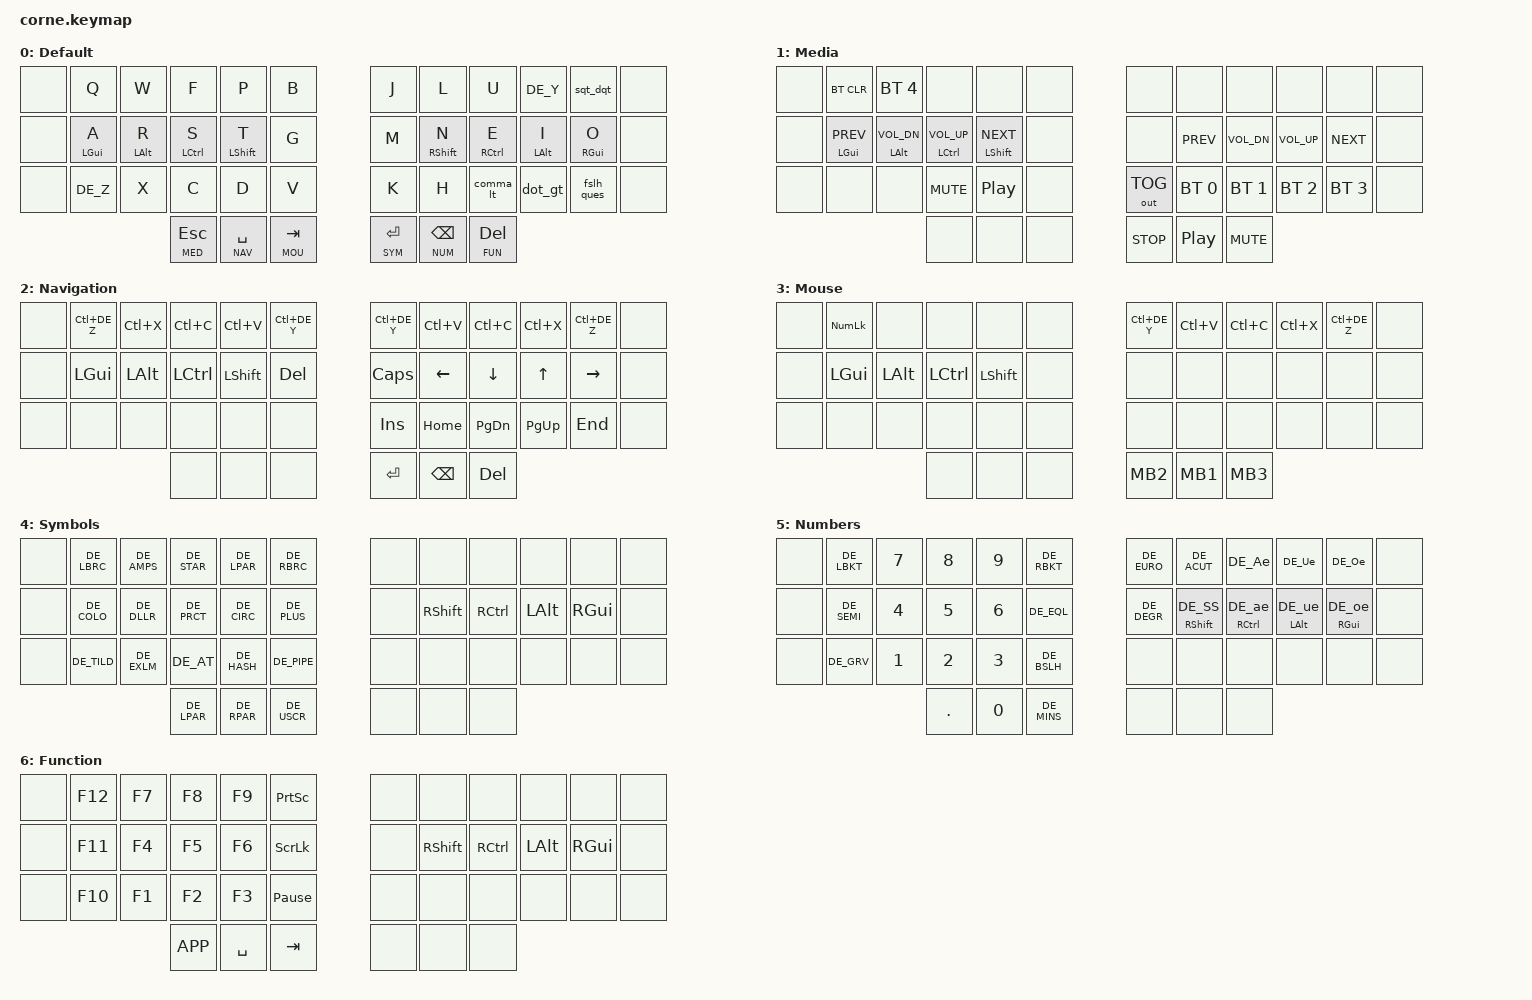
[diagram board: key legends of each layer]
#include <behaviors.dtsi>
#include <dt-bindings/zmk/keys.h>
#include <dt-bindings/zmk/bt.h>
#include <dt-bindings/zmk/outputs.h>
#include <dt-bindings/zmk/mouse.h>

#include "./helper.h"
#include "./keypos_42keys.h"
#include "./keymap_german.h"

#define DEF 0  // layer shortcuts, must match order in which they are defined below
#define MED 1
#define NAV 2
#define MOU 3
#define SYM 4
#define NUM 5
#define FUN 6

#define ___ &none

// homerow mods
ZMK_BEHAVIOR(hrm, hold_tap,
    flavor = "balanced";
    tapping-term-ms = <200>;
    quick-tap-ms = <180>;
    bindings = <&kp>, <&kp>;
)

&lt {
    tapping-term-ms = <200>;
    quick-tap-ms = <180>;
};

//ZMK_BEHAVIOR(hfl, hold_tap,
//    flavor = "tap-preferred";
//    tapping-term-ms = <280>;
//    quick-tap-ms = <180>;
//    bindings = <&mo>, <&kp>;
//)
//
//// tap: backspace | shift + tap: delete | hold: NUM layer
//ZMK_BEHAVIOR(bs_del_num, mod_morph,
//    bindings = <&hfl NUM BSPC>, <&kp DEL>;
//    mods = <(MOD_LSFT|MOD_RSFT)>;
//)
//
//// tap: caps word | double tap: sticky shift
//ZMK_BEHAVIOR(cw_ss, tap_dance,
//    tapping-term-ms = <200>;
//    bindings = <&caps_word>, <&sk LSHFT>;
//)

// tap: , | shift + tap: <
ZMK_BEHAVIOR(comma_lt, mod_morph,
    bindings = <&kp COMMA>, <&kp DE_LT>;
    mods = <(MOD_LSFT|MOD_RSFT)>;
)

// tap: . | shift + tap: >
ZMK_BEHAVIOR(dot_gt, mod_morph,
    bindings = <&kp DOT>, <&kp DE_GT>;
    mods = <(MOD_LSFT|MOD_RSFT)>;
)

// tap: / | shift + tap: ?
ZMK_BEHAVIOR(fslh_ques, mod_morph,
    bindings = <&kp DE_FSLH>, <&kp DE_QUES>;
    mods = <(MOD_LSFT|MOD_RSFT)>;
)

// tap: ' | shift + tap: "
ZMK_BEHAVIOR(sqt_dqt, mod_morph,
    bindings = <&kp DE_SQT>, <&kp DE_DQT>;
    mods = <(MOD_LSFT|MOD_RSFT)>;
)

#undef COMBO_TERM
#define COMBO_TERM 40  // timeout of 40ms (default is 30ms if omitted)(
//ZMK_COMBO(combo_cut,    &kp LC(X),  LB3 LB4, ALL)      // Ctrl + X, active on all layers
//ZMK_COMBO(combo_copy,   &kp LC(C),  LB2 LB3, ALL)      // Ctrl + C, active on all layers
//ZMK_COMBO(combo_paste,  &kp LC(V),  LB1 LB2, ALL)      // Ctrl + V, active on all layers
//ZMK_COMBO(combo_esc,    &kp ESC,    LT1 LT2 LT3, ALL)  // ESC, active on all layers

ZMK_LAYER(Default,
     // ╭─────┬─────────────┬─────────────┬─────────────┬─────────────┬─────────────╮   ╭─────────────┬─────────────┬─────────────┬─────────────┬─────────────┬─────╮
          ___   &kp Q         &kp W         &kp F         &kp P         &kp B             &kp J         &kp L         &kp U         &kp DE_Y      &sqt_dqt      ___
     // ├─────┼─────────────┼─────────────┼─────────────┼─────────────┼─────────────┤   ├─────────────┼─────────────┼─────────────┼─────────────┼─────────────┼─────┤
          ___   &hrm LGUI A   &hrm LALT R   &hrm LCTRL S  &hrm LSHFT T  &kp G             &kp M         &hrm RSHFT N  &hrm RCTRL E  &hrm LALT I   &hrm RGUI O   ___
     // ├─────┼─────────────┼─────────────┼─────────────┼─────────────┼─────────────┤   ├─────────────┼─────────────┼─────────────┼─────────────┼─────────────┼─────┤
          ___   &kp DE_Z      &kp X         &kp C         &kp D         &kp V             &kp K         &kp H         &comma_lt     &dot_gt       &fslh_ques    ___
     // ╰─────┴─────────────┴─────────────┼─────────────┼─────────────┼─────────────┤   ├─────────────┼─────────────┼─────────────┼─────────────┴─────────────┴─────╯
                                            &lt MED ESC   &lt NAV SPACE &lt MOU TAB       &lt SYM RET   &lt NUM BSPC  &lt FUN DEL
     //                                   ╰─────────────┴─────────────┴─────────────╯   ╰─────────────┴─────────────┴─────────────╯
)

ZMK_LAYER(Media,
     // ╭─────┬─────────────┬─────────────┬─────────────┬─────────────┬─────────────╮   ╭─────────────┬─────────────┬─────────────┬─────────────┬─────────────┬─────╮
          ___   &bt BT_CLR    &bt BT_SEL 4  ___           ___           ___               ___           ___           ___           ___           ___           ___
     // ├─────┼─────────────┼─────────────┼─────────────┼─────────────┼─────────────┤   ├─────────────┼─────────────┼─────────────┼─────────────┼─────────────┼─────┤
    ___ &hrm LGUI C_PREV &hrm LALT C_VOL_DN &hrm LCTRL C_VOL_UP &hrm LSHFT C_NEXT ___     ___           &kp C_PREV    &kp C_VOL_DN  &kp C_VOL_UP  &kp C_NEXT    ___
     // ├─────┼─────────────┼─────────────┼─────────────┼─────────────┼─────────────┤   ├─────────────┼─────────────┼─────────────┼─────────────┼─────────────┼─────┤
          ___   ___           ___            &kp C_MUTE   &kp C_PLAY_PAUSE ___            &out OUT_TOG  &bt BT_SEL 0  &bt BT_SEL 1  &bt BT_SEL 2  &bt BT_SEL 3  ___
     // ╰─────┴─────────────┴─────────────┼─────────────┼─────────────┼─────────────┤   ├─────────────┼─────────────┼─────────────┼─────────────┴─────────────┴─────╯
                                            ___           ___           ___               &kp C_STOP    &kp C_PLAY_PAUSE &kp C_MUTE
     //                                   ╰─────────────┴─────────────┴─────────────╯   ╰─────────────┴─────────────┴─────────────╯
)

ZMK_LAYER(Navigation,
     // ╭─────┬─────────────┬─────────────┬─────────────┬─────────────┬─────────────╮   ╭─────────────┬─────────────┬─────────────┬─────────────┬─────────────┬─────╮
          ___   &kp LC(DE_Z)  &kp LC(X)     &kp LC(C)     &kp LC(V)     &kp LC(DE_Y)      &kp LC(DE_Y)  &kp LC(V)     &kp LC(C)     &kp LC(X)     &kp LC(DE_Z)  ___
     // ├─────┼─────────────┼─────────────┼─────────────┼─────────────┼─────────────┤   ├─────────────┼─────────────┼─────────────┼─────────────┼─────────────┼─────┤
          ___   &kp LGUI      &kp LALT      &kp LCTRL     &kp LSHFT     &kp DEL           &kp CAPSLOCK  &kp LEFT      &kp DOWN      &kp UP        &kp RIGHT     ___
     // ├─────┼─────────────┼─────────────┼─────────────┼─────────────┼─────────────┤   ├─────────────┼─────────────┼─────────────┼─────────────┼─────────────┼─────┤
          ___   ___           ___           ___           ___           ___               &kp INS       &kp HOME      &kp PG_DN     &kp PG_UP     &kp END       ___
     // ╰─────┴─────────────┴─────────────┼─────────────┼─────────────┼─────────────┤   ├─────────────┼─────────────┼─────────────┼─────────────┴─────────────┴─────╯
                                            ___           ___           ___               &kp RET       &kp BSPC      &kp DEL
     //                                   ╰─────────────┴─────────────┴─────────────╯   ╰─────────────┴─────────────┴─────────────╯
)

ZMK_LAYER(Mouse,
     // ╭─────┬─────────────┬─────────────┬─────────────┬─────────────┬─────────────╮   ╭─────────────┬─────────────┬─────────────┬─────────────┬─────────────┬─────╮
          ___   &kp KP_NUMLOCK ___          ___           ___           ___               &kp LC(DE_Y)  &kp LC(V)     &kp LC(C)     &kp LC(X)     &kp LC(DE_Z)  ___
     // ├─────┼─────────────┼─────────────┼─────────────┼─────────────┼─────────────┤   ├─────────────┼─────────────┼─────────────┼─────────────┼─────────────┼─────┤
          ___   &kp LGUI      &kp LALT      &kp LCTRL     &kp LSHFT     ___               ___           ___           ___           ___           ___           ___
     // ├─────┼─────────────┼─────────────┼─────────────┼─────────────┼─────────────┤   ├─────────────┼─────────────┼─────────────┼─────────────┼─────────────┼─────┤
          ___   ___           ___           ___           ___           ___               ___           ___           ___           ___           ___           ___
     // ╰─────┴─────────────┴─────────────┼─────────────┼─────────────┼─────────────┤   ├─────────────┼─────────────┼─────────────┼─────────────┴─────────────┴─────╯
                                            ___           ___           ___               &kp MB2       &kp MB1       &kp MB3
     //                                   ╰─────────────┴─────────────┴─────────────╯   ╰─────────────┴─────────────┴─────────────╯
)

ZMK_LAYER(Symbols,
     // ╭─────┬─────────────┬─────────────┬─────────────┬─────────────┬─────────────╮   ╭─────────────┬─────────────┬─────────────┬─────────────┬─────────────┬─────╮
          ___   &kp DE_LBRC   &kp DE_AMPS   &kp DE_STAR   &kp DE_LPAR   &kp DE_RBRC       ___           ___           ___           ___           ___           ___
     // ├─────┼─────────────┼─────────────┼─────────────┼─────────────┼─────────────┤   ├─────────────┼─────────────┼─────────────┼─────────────┼─────────────┼─────┤
          ___   &kp DE_COLO   &kp DE_DLLR   &kp DE_PRCT   &kp DE_CIRC   &kp DE_PLUS       ___           &kp RSHFT     &kp RCTRL     &kp LALT      &kp RGUI      ___
     // ├─────┼─────────────┼─────────────┼─────────────┼─────────────┼─────────────┤   ├─────────────┼─────────────┼─────────────┼─────────────┼─────────────┼─────┤
          ___   &kp DE_TILD   &kp DE_EXLM   &kp DE_AT     &kp DE_HASH   &kp DE_PIPE       ___           ___           ___           ___           ___           ___
     // ╰─────┴─────────────┴─────────────┼─────────────┼─────────────┼─────────────┤   ├─────────────┼─────────────┼─────────────┼─────────────┴─────────────┴─────╯
                                            &kp DE_LPAR   &kp DE_RPAR   &kp DE_USCR       ___           ___           ___
     //                                   ╰─────────────┴─────────────┴─────────────╯   ╰─────────────┴─────────────┴─────────────╯
)

ZMK_LAYER(Numbers,
     // ╭─────┬─────────────┬─────────────┬─────────────┬─────────────┬─────────────╮   ╭─────────────┬─────────────┬─────────────┬─────────────┬─────────────┬─────╮
          ___   &kp DE_LBKT   &kp N7        &kp N8        &kp N9        &kp DE_RBKT       &kp DE_EURO   &kp DE_ACUT   &kp DE_Ae     &kp DE_Ue     &kp DE_Oe     ___
     // ├─────┼─────────────┼─────────────┼─────────────┼─────────────┼─────────────┤   ├─────────────┼─────────────┼─────────────┼─────────────┼─────────────┼─────┤
          ___   &kp DE_SEMI   &kp N4        &kp N5        &kp N6        &kp DE_EQL  &kp DE_DEGR &hrm RSHFT DE_SS &hrm RCTRL DE_ae &hrm LALT DE_ue &hrm RGUI DE_oe ___
     // ├─────┼─────────────┼─────────────┼─────────────┼─────────────┼─────────────┤   ├─────────────┼─────────────┼─────────────┼─────────────┼─────────────┼─────┤
          ___   &kp DE_GRV    &kp N1        &kp N2        &kp N3        &kp DE_BSLH       ___           ___           ___           ___           ___           ___
     // ╰─────┴─────────────┴─────────────┼─────────────┼─────────────┼─────────────┤   ├─────────────┼─────────────┼─────────────┼─────────────┴─────────────┴─────╯
                                            &kp DOT       &kp N0        &kp DE_MINS       ___           ___           ___
     //                                   ╰─────────────┴─────────────┴─────────────╯   ╰─────────────┴─────────────┴─────────────╯
)

ZMK_LAYER(Function,
     // ╭─────┬─────────────┬─────────────┬─────────────┬─────────────┬─────────────╮   ╭─────────────┬─────────────┬─────────────┬─────────────┬─────────────┬─────╮
          ___   &kp F12       &kp F7        &kp F8        &kp F9        &kp PRINTSCREEN   ___           ___           ___           ___           ___           ___
     // ├─────┼─────────────┼─────────────┼─────────────┼─────────────┼─────────────┤   ├─────────────┼─────────────┼─────────────┼─────────────┼─────────────┼─────┤
          ___   &kp F11       &kp F4        &kp F5        &kp F6        &kp SCROLLLOCK    ___           &kp RSHFT     &kp RCTRL     &kp LALT      &kp RGUI      ___
     // ├─────┼─────────────┼─────────────┼─────────────┼─────────────┼─────────────┤   ├─────────────┼─────────────┼─────────────┼─────────────┼─────────────┼─────┤
          ___   &kp F10       &kp F1        &kp F2        &kp F3        &kp PAUSE_BREAK   ___           ___           ___           ___           ___           ___
     // ╰─────┴─────────────┴─────────────┼─────────────┼─────────────┼─────────────┤   ├─────────────┼─────────────┼─────────────┼─────────────┴─────────────┴─────╯
                                            &kp K_APP     &kp SPACE     &kp TAB           ___           ___           ___
     //                                   ╰─────────────┴─────────────┴─────────────╯   ╰─────────────┴─────────────┴─────────────╯
)

